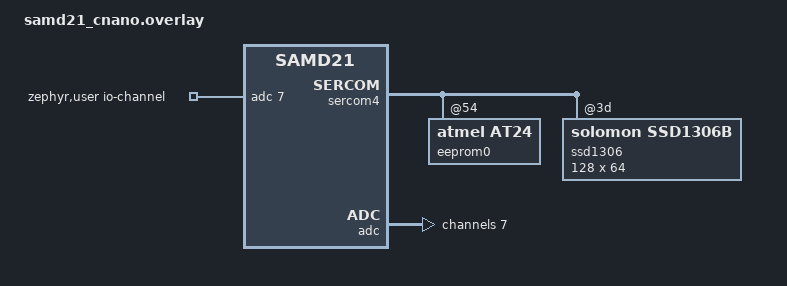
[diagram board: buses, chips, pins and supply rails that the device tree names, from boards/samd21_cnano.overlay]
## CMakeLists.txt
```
cmake_minimum_required(VERSION 3.28.0)

find_package(Zephyr)
project(i2c_eeprom_app)

target_sources(app PRIVATE src/main.c)
```

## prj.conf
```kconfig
CONFIG_ADC=y
CONFIG_DISPLAY=y
CONFIG_CHARACTER_FRAMEBUFFER=y
CONFIG_EEPROM=y
CONFIG_EEPROM_AT24=y

CONFIG_HEAP_MEM_POOL_SIZE=8192
```

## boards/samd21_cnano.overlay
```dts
/ {
	chosen {
		zephyr,display = &ssd1306;
	};

	aliases {
		eeprom = &eeprom0;
	};

	zephyr,user {
		io-channels = <&adc 7>;
	};
};

&sercom4 {
	eeprom0: eeprom@54 {
		compatible = "atmel,at24";
		reg = <0x54>;
		size = <1024>;
		pagesize = <256>;
		address-width = <16>;
		timeout = <10>;
	};

	ssd1306: ssd1306@3d {
		compatible = "solomon,ssd1306b";
		reg = <0x3d>;
		segment-offset = <0>;
		page-offset = <0>;
		display-offset = <0>;
		multiplex-ratio = <63>;
		prechargep = <0x22>;
		height = <64>;
		width = <128>;
		segment-remap;
		com-invdir;
	};
};

&adc {
	prescaler = <4>;
	#address-cells = <1>;
	#size-cells = <0>;

	channel@7 {
		reg = <7>;
		zephyr,gain = "ADC_GAIN_1";
		zephyr,reference = "ADC_REF_INTERNAL";
		zephyr,acquisition-time = <ADC_ACQ_TIME_DEFAULT>;
		zephyr,resolution = <12>;
		zephyr,input-positive = <7>;
	};
};
```

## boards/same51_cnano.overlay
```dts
/ {
	chosen {
		zephyr,display = &ssd1306;
	};

	aliases {
		eeprom = &eeprom0;
	};

	zephyr,user {
		io-channels = <&adc0 7>;
	};
};

&sercom2 {
	eeprom0: eeprom@54 {
		compatible = "atmel,at24";
		reg = <0x54>;
		size = <1024>;
		pagesize = <256>;
		address-width = <16>;
		timeout = <10>;
	};

	ssd1306: ssd1306@3d {
		compatible = "solomon,ssd1306b";
		reg = <0x3d>;
		segment-offset = <0>;
		page-offset = <0>;
		display-offset = <0>;
		multiplex-ratio = <63>;
		prechargep = <0x22>;
		height = <64>;
		width = <128>;
		segment-remap;
		com-invdir;
	};
};

&adc0 {
	prescaler = <4>;
	#address-cells = <1>;
	#size-cells = <0>;

	channel@7 {
		reg = <7>;
		zephyr,gain = "ADC_GAIN_1";
		zephyr,reference = "ADC_REF_INTERNAL";
		zephyr,acquisition-time = <ADC_ACQ_TIME_DEFAULT>;
		zephyr,resolution = <12>;
		zephyr,input-positive = <7>;
	};
};
```

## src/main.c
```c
#include <stdbool.h>
#include <stdint.h>
#include <stdio.h>
#include <zephyr/devicetree.h>
#include <zephyr/display/cfb.h>
#include <zephyr/drivers/adc.h>
#include <zephyr/drivers/eeprom.h>
#include <zephyr/drivers/i2c/target/eeprom.h>
#include <zephyr/kernel.h>
#include <zephyr/sleep.h>

int main(void)
{
	const struct device *display = DEVICE_DT_GET(DT_CHOSEN(zephyr_display));
	const struct device *eeprom = DEVICE_DT_GET(DT_ALIAS(eeprom));
	const struct adc_dt_spec potentiometer = ADC_DT_SPEC_GET(DT_PATH(zephyr_user));

	if (!device_is_ready(display)) {
		return 0;
	}

	if (!device_is_ready(eeprom)) {
		return 0;
	}

	if (!adc_is_ready_dt(&potentiometer)) {
		return 0;
	}

	if (adc_channel_setup_dt(&potentiometer)) {
		return 0;
	}

	uint16_t initial_potentiometer_value, potentiometer_value;

	struct adc_sequence sequence = {
		.buffer = &potentiometer_value,
		.buffer_size = sizeof(potentiometer_value),
	};

	if (adc_sequence_init_dt(&potentiometer, &sequence)) {
		return 0;
	}

	if (cfb_framebuffer_init(display)) {
		return 0;
	}

	uint8_t font_width, font_height;

	if (cfb_get_font_size(display, 0, &font_width, &font_height)) {
		return 0;
	}

	if (!device_is_ready(eeprom)) {
		return 0;
	}

	off_t eeprom_offset = 23;

	if (eeprom_read(eeprom, eeprom_offset, &initial_potentiometer_value, sizeof(potentiometer_value))) {
		return 0;
	}

	char rotation_line[13];
	char initial_rotation_line[13];

	snprintf(initial_rotation_line, sizeof(initial_rotation_line), "%hu", initial_potentiometer_value);

	while (1) {
		if (cfb_framebuffer_clear(display, false)) {
			return 0;
		}

		if (adc_read_dt(&potentiometer, &sequence)) {
			return 0;
		}

		if (cfb_draw_text(display, "Rotation:", 0, font_height * 0)) {
			return 0;
		}

		snprintf(rotation_line, sizeof(rotation_line), "%hu", potentiometer_value);

		if (cfb_draw_text(display, rotation_line, 0, font_height * 1)) {
			return 0;
		}

		if (eeprom_write(eeprom, eeprom_offset, &potentiometer_value, sizeof(potentiometer_value))) {
			return 0;
		}

		if (cfb_draw_text(display, "Initial:", 0, font_height * 2)) {
			return 0;
		}

		if (cfb_draw_text(display, initial_rotation_line, 0, font_height * 3)) {
			return 0;
		}

		if (cfb_framebuffer_finalize(display)) {
			return 0;
		}

		k_sleep(K_MSEC(1000));
	}
}
```
